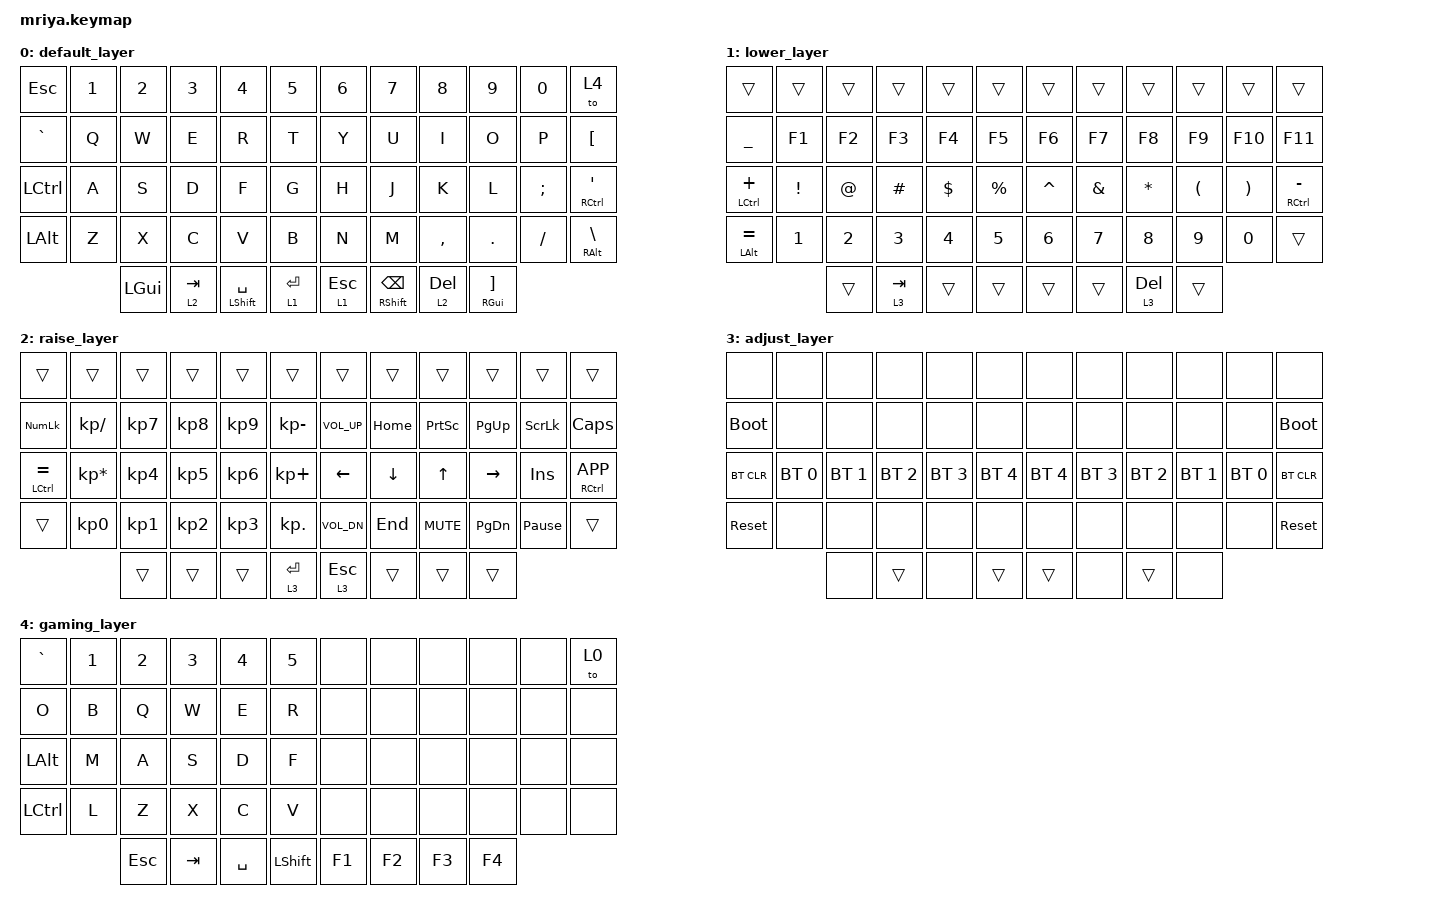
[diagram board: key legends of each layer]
/*
 * Copyright (c) 2023 Andrei Gaevskii
 *
 * SPDX-License-Identifier: MIT
 */

#include <behaviors.dtsi>
#include <dt-bindings/zmk/bt.h>
#include <dt-bindings/zmk/keys.h>

#define DEF 0
#define LWR 1
#define RSE 2
#define ADJ 3

&lt {
    quick_tap_ms = <200>;
};

&mt {
    quick_tap_ms = <200>;
};

/ {
    combos {
        compatible = "zmk,combos";

        left_move {
            bindings = <&kp LS(LEFT_META)>;
            key-positions = <48 49>;
            layers = <0>;
        };

        right_move {
            bindings = <&kp RS(RCMD)>;
            key-positions = <54 55>;
            layers = <0>;
        };
    };

    keymap {
        compatible = "zmk,keymap";

        default_layer {
            bindings = <
  &kp ESCAPE  &kp N1    &kp N2     &kp N3           &kp N4     &kp N5       &kp N6          &kp N7     &kp N8                  &kp N9    &kp N0          &to 4
   &kp GRAVE   &kp Q     &kp W      &kp E            &kp R      &kp T        &kp Y           &kp U      &kp I                   &kp O     &kp P       &kp LBKT
   &kp LCTRL   &kp A     &kp S      &kp D            &kp F      &kp G        &kp H           &kp J      &kp K                   &kp L  &kp SEMI  &mt RCTRL SQT
    &kp LALT   &kp Z     &kp X      &kp C            &kp V      &kp B        &kp N           &kp M  &kp COMMA                 &kp DOT  &kp FSLH  &mt RALT BSLH
                      &kp LGUI  &lt 2 TAB  &mt LSHFT SPACE  &lt 1 RET    &lt 1 ESC  &mt RSHFT BSPC  &lt 2 DEL  &mt RGUI RIGHT_BRACKET
            >;
        };

        lower_layer {
            bindings = <
          &trans    &trans  &trans     &trans    &trans     &trans       &trans    &trans     &trans    &trans    &trans           &trans
       &kp UNDER    &kp F1  &kp F2     &kp F3    &kp F4     &kp F5       &kp F6    &kp F7     &kp F8    &kp F9   &kp F10          &kp F11
  &mt LCTRL PLUS  &kp EXCL  &kp AT   &kp HASH  &kp DLLR  &kp PRCNT    &kp CARET  &kp AMPS   &kp STAR  &kp LPAR  &kp RPAR  &mt RCTRL MINUS
  &mt LALT EQUAL    &kp N1  &kp N2     &kp N3    &kp N4     &kp N5       &kp N6    &kp N7     &kp N8    &kp N9    &kp N0           &trans
                            &trans  &lt 3 TAB    &trans     &trans       &trans    &trans  &lt 3 DEL    &trans
            >;
        };

        raise_layer {
            bindings = <
           &trans           &trans     &trans     &trans     &trans        &trans          &trans    &trans      &trans     &trans           &trans           &trans
       &kp KP_NUM     &kp KP_SLASH  &kp KP_N7  &kp KP_N8  &kp KP_N9  &kp KP_MINUS    &kp C_VOL_UP  &kp HOME   &kp PSCRN  &kp PG_UP         &kp SLCK         &kp CAPS
  &mt LCTRL EQUAL  &kp KP_MULTIPLY  &kp KP_N4  &kp KP_N5  &kp KP_N6   &kp KP_PLUS        &kp LEFT  &kp DOWN      &kp UP  &kp RIGHT          &kp INS  &mt RCTRL K_APP
           &trans        &kp KP_N0  &kp KP_N1  &kp KP_N2  &kp KP_N3    &kp KP_DOT    &kp C_VOL_DN   &kp END  &kp K_MUTE  &kp PG_DN  &kp PAUSE_BREAK           &trans
                                       &trans     &trans     &trans     &lt 3 RET       &lt 3 ESC    &trans      &trans     &trans
            >;
        };

        adjust_layer {
            bindings = <
        &none         &none         &none         &none         &none         &none           &none         &none         &none         &none         &none        &none
  &bootloader         &none         &none         &none         &none         &none           &none         &none         &none         &none         &none  &bootloader
   &bt BT_CLR  &bt BT_SEL 0  &bt BT_SEL 1  &bt BT_SEL 2  &bt BT_SEL 3  &bt BT_SEL 4    &bt BT_SEL 4  &bt BT_SEL 3  &bt BT_SEL 2  &bt BT_SEL 1  &bt BT_SEL 0   &bt BT_CLR
   &sys_reset         &none         &none         &none         &none         &none           &none         &none         &none         &none         &none   &sys_reset
                                    &none        &trans         &none        &trans          &trans         &none        &trans         &none
            >;
        };

        gaming_layer {
            bindings = <
  &kp GRAVE  &kp NUMBER_1  &kp NUMBER_2  &kp NUMBER_3  &kp NUMBER_4    &kp NUMBER_5     &none   &none   &none   &none  &none  &to 0
      &kp O         &kp B         &kp Q         &kp W         &kp E           &kp R     &none   &none   &none   &none  &none  &none
   &kp LALT         &kp M         &kp A         &kp S         &kp D           &kp F     &none   &none   &none   &none  &none  &none
  &kp LCTRL         &kp L         &kp Z         &kp X         &kp C           &kp V     &none   &none   &none   &none  &none  &none
                             &kp ESCAPE       &kp TAB     &kp SPACE  &kp LEFT_SHIFT    &kp F1  &kp F2  &kp F3  &kp F4
            >;
        };
    };
};
